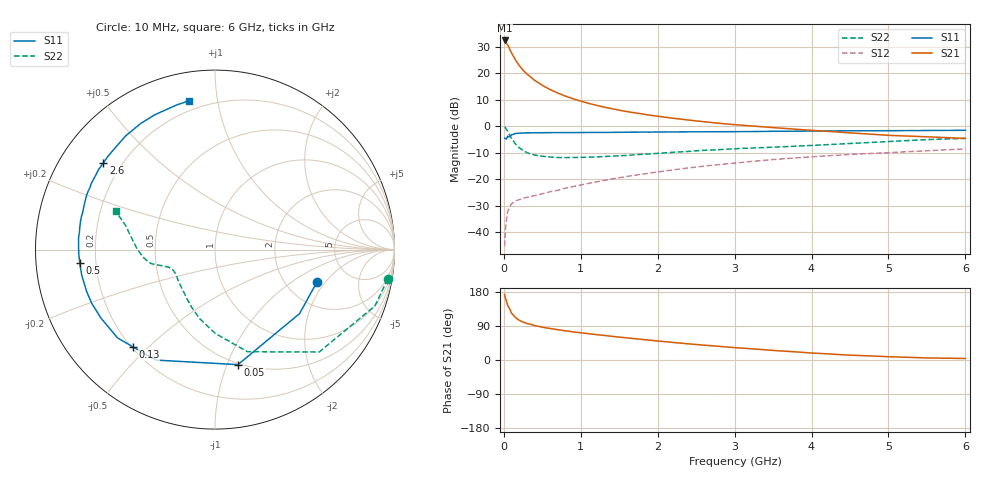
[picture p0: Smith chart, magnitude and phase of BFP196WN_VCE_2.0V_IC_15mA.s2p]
! Infineon Technologies  Discrete & RF Semiconductors
! BFP196WN
! VCE =  2.0 V,  IC =  15 mA
! Common Emitter S-Parameters:  Jan 2017
# GHz  S  MA  R  50
!  f  S11  S21  S12  S22
! GHz  MAG  ANG  MAG  ANG  MAG  ANG  MAG  ANG
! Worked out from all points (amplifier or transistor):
!   77 points, 10 MHz to 6 GHz, reference 50 ohm
!   highest |S21| = 32.4 dB at 10 MHz (marker M1)
!   |S21| within 3 dB of that: start of sweep to 71.73 MHz
!   unconditionally stable (mu >= 1): 967.5 MHz to 2.833 GHz
!   at 130 MHz: K = 0.26, MSG = 27.3 dB, |S12| = -28.5 dB
!   at 2.2 GHz: K = 1.04, MAG = 8.5 dB, |S12| = -16.4 dB
!   at 6 GHz: K = 0.91, MSG = 2.0 dB, |S12| = -8.5 dB
!   S11 on the Smith chart (normalised r, x): 10 MHz: 2.92, -1.65; 50 MHz: 0.49, -1.09; 130 MHz: 0.21, -0.45; 500 MHz: 0.14, -0.05; 2.6 GHz: 0.13, +0.34; 6 GHz: 0.15, +0.83
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0.01  0.5955 -17.9  41.53 172.7  0.0055 80.8  0.9761 -9.7
0.02  0.5908 -37.1  39.37 163.9  0.0111 79.6  0.9447 -19.4
0.05  0.6536 -78.7  34.24 143.6  0.0249 58.0  0.814 -44.5
0.1  0.6984 -118.2  24.1 123.1  0.0347 43.2  0.5975 -72.3
0.13  0.7091 -130.2  20.29 117.2  0.0374 39.4  0.5132 -81.7
0.15  0.7329 -137.8  17.92 112.0  0.0393 37.1  0.467 -89.8
0.2  0.741 -149.0  13.98 104.9  0.0415 36.0  0.3947 -102.4
0.25  0.7493 -156.5  11.44 100.0  0.0441 35.2  0.3499 -111.3
0.3  0.7524 -161.9  9.652 96.4  0.0458 35.6  0.3183 -118.8
0.4  0.7563 -169.3  7.346 90.8  0.0494 38.5  0.2872 -129.2
0.5  0.7572 -174.5  5.908 86.6  0.0534 41.4  0.2726 -136.9
0.6  0.7597 -178.3  4.944 83.1  0.0584 44.3  0.264 -142.5
0.7  0.7603 178.4  4.236 80.1  0.0622 47.0  0.2579 -146.2
0.9  0.7615 172.8  3.3 74.3  0.073 50.7  0.2588 -151.4
1.1  0.7655 168.2  2.714 69.5  0.0839 54.0  0.2616 -154.9
1.5  0.7707 160.6  2.013 60.4  0.1072 57.1  0.2777 -159.6
2.1  0.782 150.2  1.482 48.3  0.1446 57.8  0.3161 -163.8
2.6  0.7877 142.1  1.22 39.1  0.1774 56.3  0.3525 -166.7
3.1  0.7942 134.4  1.047 31.3  0.2094 53.6  0.3829 -170.6
4.1  0.816 119.4  0.822 17.4  0.2717 46.8  0.4429 177.4
5.1  0.8273 108.1  0.667 8.1  0.3241 39.4  0.5246 164.1
6  0.8417 99.9  0.59 4.0  0.3758 33.3  0.5928 159.0
